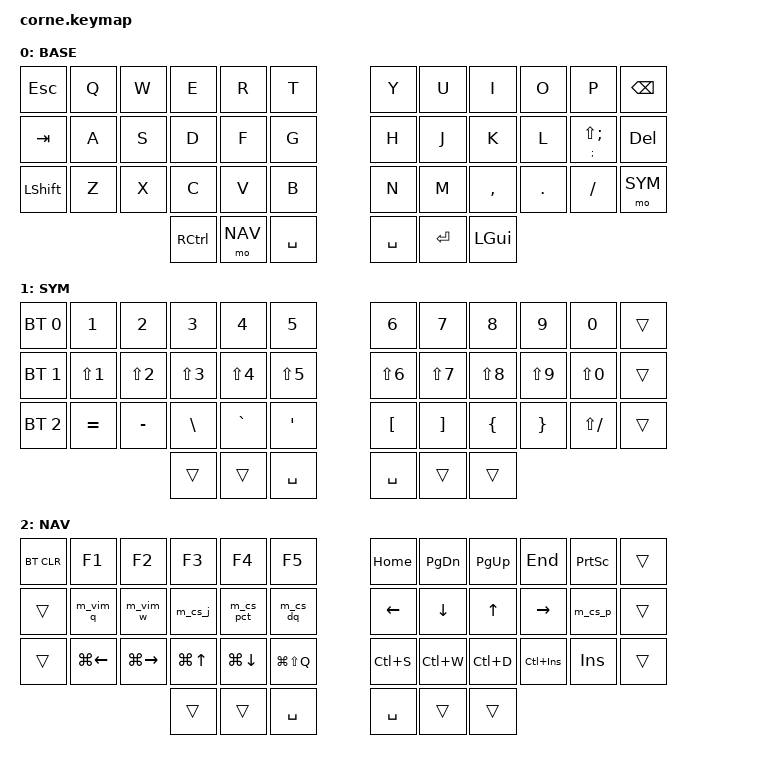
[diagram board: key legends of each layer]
/*
 * Corne (crkbd) keymap  --  ported from a Dygma Defy "Defy" layout
 * 3-layer system:  0 = BASE (QWERTY)   1 = SYM (symbols/numbers)   2 = NAV (macros/arrows)
 *
 * Thumb mods (no home-row mods):
 *   left  thumbs:  [RCTRL]  [MO NAV]  [SPACE]
 *   right thumbs:  [SPACE]    [Enter]  [GUI]
 *   Shift lives on the left outer column (base) as you specified.
 *
 * ZMK Studio ready: every macro below is compiled into the firmware, so you can
 * re-assign any of them to any key live in ZMK Studio without reflashing.
 */

#include <behaviors.dtsi>
#include <dt-bindings/zmk/keys.h>
#include <dt-bindings/zmk/bt.h>
#include <dt-bindings/zmk/outputs.h>

#define BASE 0
#define SYM  1
#define NAV  2

/ {
    /* ------------------------------------------------------------------ *
     *  BEHAVIORS                                                          *
     * ------------------------------------------------------------------ */
    behaviors {
        /* colon/semicolon hold-tap:  tap = ':'   hold = ';' */
        scln: scln {
            compatible = "zmk,behavior-hold-tap";
            #binding-cells = <2>;
            tapping-term-ms = <200>;
            flavor = "tap-preferred";
            bindings = <&kp>, <&kp>;
        };
    };

    /* ------------------------------------------------------------------ *
     *  MACROS  (decoded 1:1 from your Defy macros.map)                    *
     * ------------------------------------------------------------------ */
    macros {
        /* ---- vim ---- */
        m_vim_q: m_vim_q {                     // :q<CR>
            compatible = "zmk,behavior-macro"; #binding-cells = <0>;
            bindings = <&kp LS(SEMI) &kp Q &kp RET>;
        };
        m_vim_w: m_vim_w {                     // :w<CR>
            compatible = "zmk,behavior-macro"; #binding-cells = <0>;
            bindings = <&kp LS(SEMI) &kp W &kp RET>;
        };
        m_vim_rla: m_vim_rla {                 // :rla<CR>
            compatible = "zmk,behavior-macro"; #binding-cells = <0>;
            bindings = <&kp LS(SEMI) &kp R &kp L &kp A &kp RET>;
        };

        /* ---- IDE  (Ctrl+Space chords) ---- */
        m_cs_j: m_cs_j {                       // Ctrl+Space then J
            compatible = "zmk,behavior-macro"; #binding-cells = <0>;
            bindings = <&kp LC(SPACE) &kp J>;
        };
        m_cs_pct: m_cs_pct {                   // Ctrl+Space then %
            compatible = "zmk,behavior-macro"; #binding-cells = <0>;
            bindings = <&kp LC(SPACE) &kp LS(N5)>;
        };
        m_cs_dq: m_cs_dq {                     // Ctrl+Space then "
            compatible = "zmk,behavior-macro"; #binding-cells = <0>;
            bindings = <&kp LC(SPACE) &kp LS(SQT)>;
        };
        m_cs_p: m_cs_p {                       // Ctrl+Space then p
            compatible = "zmk,behavior-macro"; #binding-cells = <0>;
            bindings = <&kp LC(SPACE) &kp P>;
        };
        m_sp_f: m_sp_f {                       // Space then Shift+F
            compatible = "zmk,behavior-macro"; #binding-cells = <0>;
            bindings = <&kp SPACE &kp LS(F)>;
        };

        /* ---- i3 / window manager ---- */
        m_i3lock: m_i3lock {                   // types: i3lock<CR>
            compatible = "zmk,behavior-macro"; #binding-cells = <0>;
            bindings = <&kp I &kp N3 &kp L &kp O &kp C &kp K &kp RET>;
        };

        /* ---- Slack / Discord slash-commands ---- */
        m_checklist: m_checklist {             // /checklist<CR>
            compatible = "zmk,behavior-macro"; #binding-cells = <0>;
            bindings = <&kp FSLH &kp C &kp H &kp E &kp C &kp K &kp L &kp I &kp S &kp T &kp RET>;
        };
        m_banner_green: m_banner_green {        // <GUI+Left> /banner green<CR> <GUI+Right>
            compatible = "zmk,behavior-macro"; #binding-cells = <0>;
            bindings = <&kp LG(LEFT) &kp FSLH &kp B &kp A &kp N &kp N &kp E &kp R &kp SPACE
                        &kp G &kp R &kp E &kp E &kp N &kp RET &kp LG(RIGHT)>;
        };
        m_banner_red: m_banner_red {            // <GUI+Left> /banner red<CR> <GUI+Right>
            compatible = "zmk,behavior-macro"; #binding-cells = <0>;
            bindings = <&kp LG(LEFT) &kp FSLH &kp B &kp A &kp N &kp N &kp E &kp R &kp SPACE
                        &kp R &kp E &kp D &kp RET &kp LG(RIGHT)>;
        };
        m_banner_blue: m_banner_blue {          // <GUI+Left> /banner blue<CR> <GUI+Right>
            compatible = "zmk,behavior-macro"; #binding-cells = <0>;
            bindings = <&kp LG(LEFT) &kp FSLH &kp B &kp A &kp N &kp N &kp E &kp R &kp SPACE
                        &kp B &kp L &kp U &kp E &kp RET &kp LG(RIGHT)>;
        };
        m_giphy: m_giphy {                      // /giphy <pause> <CR>
            compatible = "zmk,behavior-macro"; #binding-cells = <0>;
            wait-ms = <40>;
            bindings = <&kp FSLH &kp G &kp I &kp P &kp H &kp Y &kp RET>;
        };
        m_green: m_green {                      // green<CR>
            compatible = "zmk,behavior-macro"; #binding-cells = <0>;
            bindings = <&kp G &kp R &kp E &kp E &kp N &kp RET>;
        };
    };

    /* ------------------------------------------------------------------ *
     *  KEYMAP                                                             *
     * ------------------------------------------------------------------ */
    keymap {
        compatible = "zmk,keymap";

        /* ================================ BASE / QWERTY ==================================
         *  ESC  Q   W   E   R   T   |   Y   U   I   O   P   BSPC
         *  TAB  A   S   D   F   G   |   H   J   K   L   :   DEL   (: tap / ; hold)
         *  SFT  Z   X   C   V   B   |   N   M   ,   .   /   MO(SYM)
         *          RCTRL  NAV  SPC   |  SPC  RET  GUI
         * ============================================================================== */
        base_layer {
            display-name = "BASE";
            bindings = <
   &kp ESC    &kp Q  &kp W  &kp E  &kp R  &kp T        &kp Y  &kp U  &kp I      &kp O    &kp P     &kp BSPC
   &kp TAB    &kp A  &kp S  &kp D  &kp F  &kp G        &kp H  &kp J  &kp K      &kp L    &scln SEMI LS(SEMI)  &kp DEL
   &kp LSHFT  &kp Z  &kp X  &kp C  &kp V  &kp B        &kp N  &kp M  &kp COMMA  &kp DOT  &kp FSLH  &mo SYM
                     &kp RCTRL  &mo NAV  &kp SPACE    &kp SPACE  &kp RET  &kp LGUI
            >;
        };

        /* ================================ SYM / numbers ==================================
         *  (outer columns transparent -> Esc/Tab/Shift & Bspc/Del still work)
         *   .   1   2   3   4   5   |   6   7   8   9   0    .
         *   .   !   @   #   $   %   |   ^   &   *   (   )    .
         *   .   =   -   \   `   '   |   [   ]   {   }   ?    .   (? = shift+/ ; ~ = shift+`)
         * ============================================================================== */
        sym_layer {
            display-name = "SYM";
            bindings = <
   &bt BT_SEL 0  &kp N1        &kp N2        &kp N3     &kp N4      &kp N5           &kp N6     &kp N7     &kp N8        &kp N9        &kp N0         &trans
   &bt BT_SEL 1  &kp LS(N1)    &kp LS(N2)    &kp LS(N3) &kp LS(N4)  &kp LS(N5)       &kp LS(N6) &kp LS(N7) &kp LS(N8)    &kp LS(N9)    &kp LS(N0)     &trans
   &bt BT_SEL 2  &kp EQUAL     &kp MINUS     &kp BSLH   &kp GRAVE   &kp SQT          &kp LBKT   &kp RBKT   &kp LBRC      &kp RBRC      &kp LS(FSLH)   &trans
                                             &trans  &trans  &kp SPACE      &kp SPACE  &trans  &trans
            >;
        };

        /* ================================ NAV / macros ===================================
         *  left hand = your Defy macros + F-keys       right hand = arrows / page nav
         *   .   F1   F2   F3   F4   F5   |  HOME  PGDN  PGUP  END   PSCRN   .
         *   .   :q   :w   csJ  cs%  cs"  |  LEFT  DOWN  UP    RIGHT csP     .
         *   .   gui< gui> gui^ guiv g+SQ |  C+S   C+W   C+D   C+INS INS     .
         * ============================================================================== */
        nav_layer {
            display-name = "NAV";
            bindings = <
   &bt BT_CLR  &kp F1     &kp F2     &kp F3     &kp F4      &kp F5             &kp HOME   &kp PG_DN  &kp PG_UP  &kp END    &kp PSCRN  &trans
   &trans      &m_vim_q   &m_vim_w   &m_cs_j    &m_cs_pct   &m_cs_dq           &kp LEFT   &kp DOWN   &kp UP     &kp RIGHT  &m_cs_p    &trans
   &trans      &kp LG(LEFT) &kp LG(RIGHT) &kp LG(UP) &kp LG(DOWN) &kp LG(LS(Q)) &kp LC(S) &kp LC(W) &kp LC(D)  &kp LC(INS) &kp INS   &trans
                                  &trans  &trans  &kp SPACE      &kp SPACE  &trans  &trans
            >;
        };
    };
};
